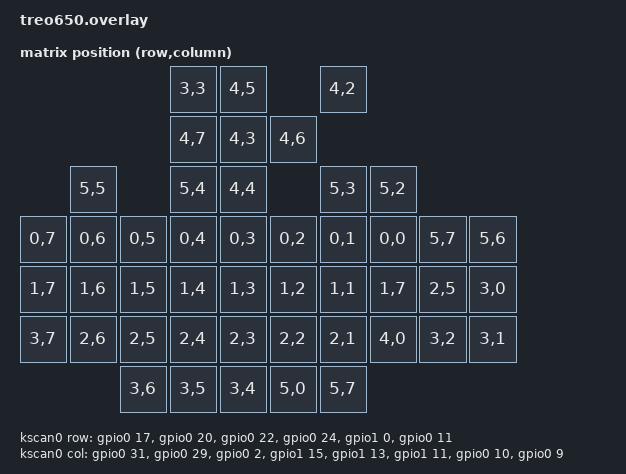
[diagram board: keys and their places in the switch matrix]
#include <dt-bindings/zmk/matrix_transform.h>
/ {
    kscan0: kscan0 {
        compatible = "zmk,kscan-gpio-matrix";
        diode-direction = "col2row";
        wakeup-source;

        row-gpios = 
            <&gpio0 17 (GPIO_ACTIVE_HIGH | GPIO_PULL_UP)>,
            <&gpio0 20 (GPIO_ACTIVE_HIGH | GPIO_PULL_UP)>,
            <&gpio0 22 (GPIO_ACTIVE_HIGH | GPIO_PULL_UP)>,
            <&gpio0 24 (GPIO_ACTIVE_HIGH | GPIO_PULL_UP)>,
            <&gpio1 0  (GPIO_ACTIVE_HIGH | GPIO_PULL_UP)>,
            <&gpio0 11 (GPIO_ACTIVE_HIGH | GPIO_PULL_UP)>;

        /* 内圈作为列驱动，主动拉低 */
        col-gpios = 
            <&gpio0 31 GPIO_ACTIVE_LOW>,
            <&gpio0 29 GPIO_ACTIVE_LOW>,
            <&gpio0 2  GPIO_ACTIVE_LOW>,
            <&gpio1 15 GPIO_ACTIVE_LOW>,
            <&gpio1 13 GPIO_ACTIVE_LOW>,
            <&gpio1 11 GPIO_ACTIVE_LOW>,
            <&gpio0 10 GPIO_ACTIVE_LOW>,
            <&gpio0 9  GPIO_ACTIVE_LOW>;
    };
};


/ {
    default_transform: keymap_transform0 {
        compatible = "zmk,matrix-transform";
        rows = <6>;
        columns = <8>;
        map = <
                        RC(3,3)     RC(4,5)     RC(4,2)
                            RC(4,7) RC(4,3) RC(4,6)
            RC(5,5)     RC(5,4)     RC(4,4)     RC(5,3)     RC(5,2)
RC(0,7) RC(0,6) RC(0,5) RC(0,4) RC(0,3) RC(0,2) RC(0,1) RC(0,0) RC(5,7) RC(5,6)
RC(1,7) RC(1,6) RC(1,5) RC(1,4) RC(1,3) RC(1,2) RC(1,1) RC(1,7) RC(2,5) RC(3,0)
RC(3,7) RC(2,6) RC(2,5) RC(2,4) RC(2,3) RC(2,2) RC(2,1) RC(4,0) RC(3,2) RC(3,1)
                    RC(3,6) RC(3,5) RC(3,4) RC(5,0) RC(5,7)
        >;
    };
};

/ {
    physical_layout0: physical_layout_0 { // First physical layout, use different naming for other layouts
        compatible = "zmk,physical-layout";
        display-name = "Default Layout";
        kscan = <&kscan0>; // Label of the kscan node, optional if all layouts use the same
        transform = <&default_transform>; // Label of the matrix transform for this layout
    };
};

/ {
    chosen {
        zmk,physical-layout = &physical_layout0;
        // Other chosen items
    };
};

&usbd {
    status = "okay";
};
